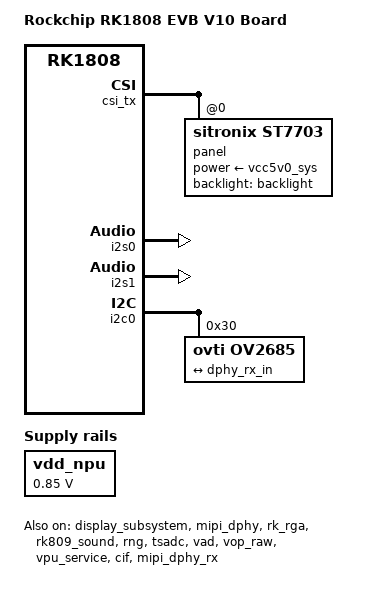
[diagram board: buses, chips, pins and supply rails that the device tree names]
// SPDX-License-Identifier: (GPL-2.0+ OR MIT)
/*
 * Copyright (c) 2018 Fuzhou Rockchip Electronics Co., Ltd
 */

/dts-v1/;
#include <dt-bindings/display/drm_mipi_dsi.h>
#include "rk1808-evb.dtsi"

/ {
	model = "Rockchip RK1808 EVB V10 Board";
	compatible = "rockchip,rk1808-evb-v10", "rockchip,rk1808";

	chosen {
		bootargs = "earlycon=uart8250,mmio32,0xff550000 console=ttyFIQ0 root=PARTUUID=614e0000-0000 rootfstype=ext4 rootwait swiotlb=1 kpti=0";
	};

	vad-sound {
		status = "okay";
		compatible = "rockchip,multicodecs-card";
		rockchip,card-name = "rockchip,rk1808-vad";
		rockchip,cpu = <&i2s0>;
		rockchip,codec = <&vad>;
	};
};

&display_subsystem {
	status = "okay";
};

#if 1
&cru {
	assigned-clocks =
		<&cru PLL_GPLL>, <&cru PLL_CPLL>,
		<&cru PLL_PPLL>, <&cru ARMCLK>,
		<&cru MSCLK_PERI>, <&cru LSCLK_PERI>,
		<&cru HSCLK_BUS_PRE>, <&cru MSCLK_BUS_PRE>,
		<&cru LSCLK_BUS_PRE>, <&cru DCLK_VOPRAW>;
	assigned-clock-rates =
		<1188000000>, <1000000000>,
		<200000000>, <816000000>,
		<200000000>, <100000000>,
		<300000000>, <200000000>,
		<100000000>, <250000000>;
};
#else
&cru {
	assigned-clocks = <&cru DCLK_VOPRAW>;
	assigned-clock-rates = <64000000>;
};
#endif

&csi_tx {
	status = "okay";

	panel@0 {
		compatible = "sitronix,st7703", "simple-panel-dsi";
		reg = <0>;
		backlight = <&backlight>;
		power-supply = <&vcc5v0_sys>;
		prepare-delay-ms = <2>;
		reset-delay-ms = <1>;
		init-delay-ms = <20>;
		enable-delay-ms = <120>;
		disable-delay-ms = <50>;
		unprepare-delay-ms = <20>;

		width-mm = <68>;
		height-mm = <121>;

		dsi,flags = <(MIPI_DSI_MODE_VIDEO | MIPI_DSI_MODE_VIDEO_BURST |
			      MIPI_DSI_MODE_LPM | MIPI_DSI_MODE_EOT_PACKET |
			      MIPI_DSI_CLOCK_NON_CONTINUOUS)>;
		//dsi,flags = <(MIPI_DSI_MODE_VIDEO | MIPI_DSI_MODE_VIDEO_BURST |
		//	      MIPI_DSI_MODE_LPM | MIPI_DSI_MODE_EOT_PACKET |
		//	      MIPI_DSI_CLOCK_NON_CONTINUOUS)>;
		dsi,format = <MIPI_CSI_FMT_RAW8>;
		dsi,lanes = <4>;

		display-timings {
			native-mode = <&timing_5k>;

			timing_720p: timing-720p {
				clock-frequency = <32000000>;
				hactive = <720>;
				vactive = <1280>;
				hfront-porch = <40>;
				hsync-len = <10>;
				hback-porch = <40>;
				vfront-porch = <40>;
				vsync-len = <4>;
				vback-porch = <40>;
				hsync-active = <0>;
				vsync-active = <0>;
				de-active = <0>;
				pixelclk-active = <0>;
			};
			timing_1080p: timing-1080p {
				clock-frequency = <44000000>;
				hactive = <1920>;
				vactive = <1080>;
				hfront-porch = <100>;
				hsync-len = <10>;
				hback-porch = <30>;
				vfront-porch = <10>;
				vsync-len = <10>;
				vback-porch = <10>;
				hsync-active = <0>;
				vsync-active = <0>;
				de-active = <0>;
				pixelclk-active = <0>;
			};
			timing_4k: timing-4k {
				//200000000 error
				//190000000 error
				//185000000 error
				//180000000 ok
				//150000000 ok
				//130000000 ok
				//120000000 ok
				//100000000 ok
				clock-frequency = <200000000>;
				hactive = <3840>;
				vactive = <2160>;
				hfront-porch = <200>;
				hsync-len = <20>;
				hback-porch = <30>;
				vfront-porch = <4>;
				vsync-len = <2>;
				vback-porch = <4>;
				hsync-active = <0>;
				vsync-active = <0>;
				de-active = <0>;
				pixelclk-active = <0>;
			};
			timing_5k: timing-5k {
				//200000000 error
				//190000000 error
				//185000000 error
				//180000000 ok
				//150000000 ok
				//130000000 ok
				//120000000 ok
				//100000000 ok
				clock-frequency = <250000000>;
				hactive = <5120>;
				vactive = <2880>;
				hfront-porch = <1200>;
				hsync-len = <70>;
				hback-porch = <30>;
				vfront-porch = <4>;
				vsync-len = <2>;
				vback-porch = <4>;
				hsync-active = <0>;
				vsync-active = <0>;
				de-active = <0>;
				pixelclk-active = <0>;
			};
		};
	};
};

&i2s0 {
	status = "okay";
	#sound-dai-cells = <0>;
};

&i2s1 {
	status = "okay";
	#sound-dai-cells = <0>;
};

&mipi_dphy {
	status = "okay";
};

&rk_rga {
	status =  "okay";
};

&rk809_sound {
	status = "okay";
};

&rng {
	status = "okay";
};

&route_dsi {
	status = "disabled";
};

&tsadc {
	rockchip,hw-tshut-mode = <1>; /* tshut mode 0:CRU 1:GPIO */
	rockchip,hw-tshut-polarity = <0>; /* tshut polarity 0:LOW 1:HIGH */
	pinctrl-names = "init", "default";
	pinctrl-0 = <&tsadc_otp_gpio>;
	pinctrl-1 = <&tsadc_otp_out>;
	status = "okay";
};

&vad {
	status = "okay";
	rockchip,audio-src = <&i2s0>;
	rockchip,buffer-time-ms = <200>;
	rockchip,det-channel = <0>;
	rockchip,mode = <1>;
	#sound-dai-cells = <0>;
};

/*
 * set max voltage to 850mv to fit for npu power supply request,
 * we can change max voltage when we get more imformation.
 */
&vdd_npu {
	regulator-min-microvolt = <850000>;
	regulator-max-microvolt = <850000>;
};

&vop_raw {
	status = "okay";
};

&vopr_mmu {
	status = "okay";
};
&vpu_mmu {
	status = "okay";
};

&vpu_service {
	status = "okay";
};

&cif {
	status = "okay";

	port {
		cif_in: endpoint@0 {
			remote-endpoint = <&dphy_rx_out>;
			data-lanes = <1 2 3 4>;
		};
	};
};

&cif_mmu {
	status = "okay";
};

&mipi_dphy_rx {
	status = "okay";

	ports {
		#address-cells = <1>;
		#size-cells = <0>;

		port@0 {
			reg = <0>;
			#address-cells = <1>;
			#size-cells = <0>;

			dphy_rx_in: endpoint@1 {
				reg = <1>;
				/* TODO add sensor */
				remote-endpoint = <&ov2685_out>;
				data-lanes = <1 2 3 4>;
			};
		};

		port@1 {
			reg = <1>;
			#address-cells = <1>;
			#size-cells = <0>;

			dphy_rx_out: endpoint@0 {
				reg = <0>;
				remote-endpoint = <&cif_in>;
			};
		};
	};
};

&i2c0 {
	status = "okay";

	ov2685@30 {
		compatible = "ovti,ov2685";
		reg = <0x30>;
		/* pinctrl-names = "default";
		pinctrl-0 = <&cam0_pwdn &cam0_xvclk>;

		clocks = <&cru SCLK_VIP_OUT>;
		clock-names = "xvclk";

		avdd-supply = <&vcc28_dvp>;
		dvdd-supply = <&vcc_dvp>;
		dovdd-supply = <&vcc18_dvp>;
		pwdn-gpios = <&gpio2 14 GPIO_ACTIVE_HIGH>; */

		port {
			ov2685_out: endpoint {
				remote-endpoint = <&dphy_rx_in>;
				link-frequencies = /bits/ 64 <1000000000>;
			};
		};
	};
};
